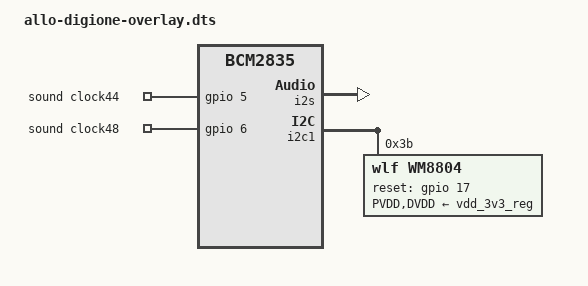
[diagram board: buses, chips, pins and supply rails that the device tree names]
// Definitions for Allo DigiOne
/dts-v1/;
/plugin/;

/ {
	compatible = "brcm,bcm2835";

	fragment@0 {
		target = <&i2s>;
		__overlay__ {
			status = "okay";
		};
	};

	fragment@1 {
		target = <&i2c1>;
		__overlay__ {
			#address-cells = <1>;
			#size-cells = <0>;
			status = "okay";

			wm8804@3b {
				#sound-dai-cells = <0>;
				compatible = "wlf,wm8804";
				reg = <0x3b>;
				PVDD-supply = <&vdd_3v3_reg>;
				DVDD-supply = <&vdd_3v3_reg>;
				status = "okay";
				wlf,reset-gpio = <&gpio 17 0>;
			};
		};
	};

	fragment@2 {
		target = <&sound>;
		__overlay__ {
			compatible = "allo,allo-digione";
			i2s-controller = <&i2s>;
			status = "okay";
			clock44-gpio = <&gpio 5 0>;
			clock48-gpio = <&gpio 6 0>;
		};
	};
};
